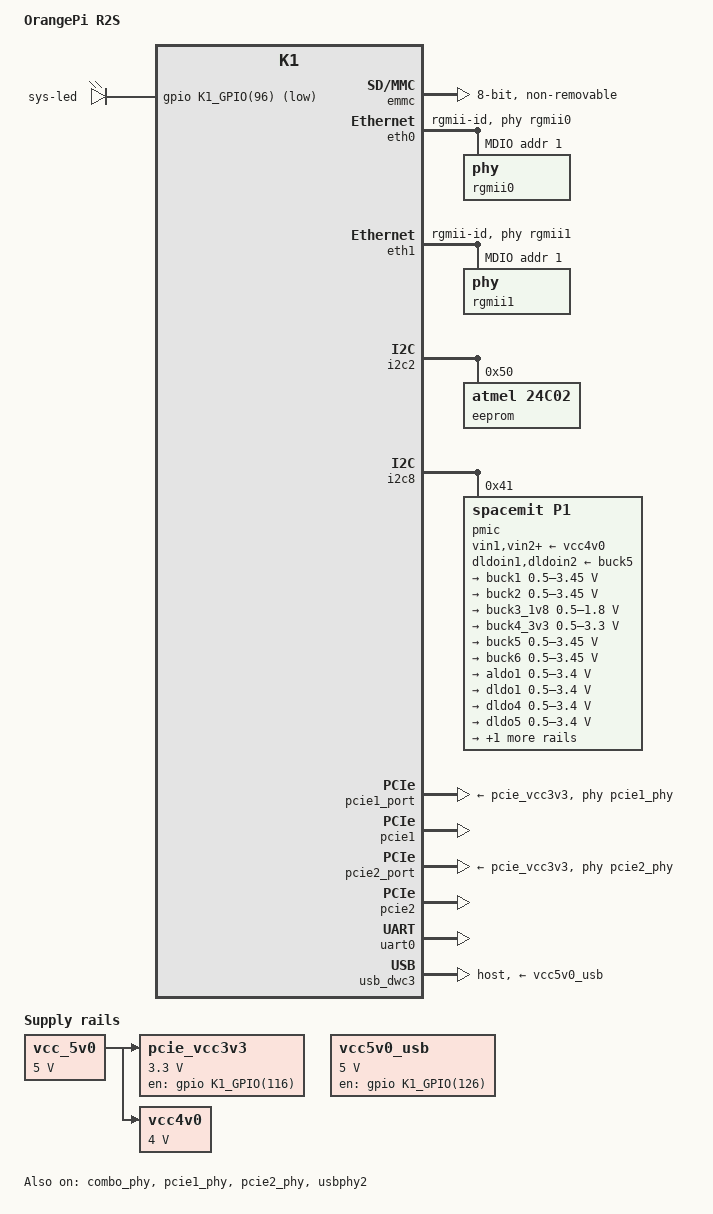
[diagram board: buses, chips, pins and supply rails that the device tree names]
// SPDX-License-Identifier: (GPL-2.0 OR MIT)
/*
 * Copyright (C) 2024 Yangyu Chen <cyy@cyyself.name>
 * Copyright (C) 2025 Hendrik Hamerlinck <hendrik.hamerlinck@hammernet.be>
 * Copyright (C) 2025 Michael Opdenacker <michael.opdenacker@rootcommit.com>
 *
 * Orange Pi R2S (2 GB) variant, derived from the RV2 board DTS.
 * Deltas vs RV2 (verified against the vendor Linux k1-orangepi-r2s.dtb):
 *   - no on-board WiFi  -> wifi_pwrseq + &sdhci1 (SDIO) removed
 *   - 2x GbE emac (eth0/eth1) IDENTICAL to RV2 (same PHY reset GPIOs 110/115,
 *     spacemit,k1-emac, rgmii-id) -> works with the smte(4) driver as-is
 *   - 2x RTL8125 2.5GbE hang off &pcie1 / &pcie2 (unchanged here); driven by the
 *     in-base rge(4) driver (add "device rge") -- base re(4) has no RTL8125
 *     support.
 */

/dts-v1/;

#include "k1.dtsi"
#include "k1-pinctrl.dtsi"

/ {
	model = "OrangePi R2S";
	compatible = "xunlong,orangepi-r2s", "spacemit,k1";

	aliases {
		serial0 = &uart0;
		ethernet0 = &eth0;
		ethernet1 = &eth1;
		mmc0 = &emmc;
	};

	chosen {
		stdout-path = "serial0";
	};

	pcie_vcc3v3: regulator-pcie-vcc3v3 {
		compatible = "regulator-fixed";
		enable-active-high;
		gpios = <&gpio K1_GPIO(116) GPIO_ACTIVE_HIGH>;
		regulator-name = "pcie_vcc3v3";
		regulator-min-microvolt = <3300000>;
		regulator-max-microvolt = <3300000>;
		vin-supply = <&vcc_5v0>;
	};

	vcc_5v0: regulator-vcc-5v0 {
		compatible = "regulator-fixed";
		regulator-name = "vcc_5v0";
		regulator-always-on;
		regulator-boot-on;
		regulator-min-microvolt = <5000000>;
		regulator-max-microvolt = <5000000>;
	};

	vcc4v0: regulator-vcc4v0 {
		compatible = "regulator-fixed";
		regulator-name = "vcc4v0";
		regulator-always-on;
		regulator-boot-on;
		regulator-min-microvolt = <4000000>;
		regulator-max-microvolt = <4000000>;
		vin-supply = <&vcc_5v0>;
	};

	/*
	 * VBUS for the USB 3 host port is GPIO 126, not 123.  GPIO 123 is the
	 * RV2's pin (and on the R2S the vendor uses it for its second USB2
	 * port), and with 123 driven instead the port stays powered-but-empty:
	 * PORTSC reads 0x2a0 (PP=1, CCS=0) no matter what is plugged in.
	 * Measured: driving 126 high makes the same port come up as
	 * PORTSC 0x1203 (CCS=1, PED=1, SuperSpeed) and the device enumerates;
	 * driving 123 low afterwards changes nothing.  Matches mainline Linux
	 * arch/riscv/boot/dts/spacemit/k1-orangepi-r2s.dts.
	 */
	vcc5v0_usb: regulator-vcc5v0-usb {
		compatible = "regulator-fixed";
		enable-active-high;
		gpios = <&gpio K1_GPIO(126) GPIO_ACTIVE_HIGH>;
		regulator-name = "vcc5v0_usb";
		regulator-min-microvolt = <5000000>;
		regulator-max-microvolt = <5000000>;
	};

	leds {
		compatible = "gpio-leds";

		led1 {
			label = "sys-led";
			gpios = <&gpio K1_GPIO(96) GPIO_ACTIVE_LOW>;
			linux,default-trigger = "heartbeat";
			default-state = "on";
		};
	};

};

&combo_phy {
	status = "okay";
};

&emmc {
	bus-width = <8>;
	mmc-hs400-1_8v;
	mmc-hs400-enhanced-strobe;
	no-sd;
	no-sdio;
	non-removable;
	status = "okay";
};

&eth0 {
	phy-handle = <&rgmii0>;
	phy-mode = "rgmii-id";
	nvmem-cells = <&mac_address0>;
	nvmem-cell-names = "mac-address";
	pinctrl-names = "default";
	pinctrl-0 = <&gmac0_cfg>;
	rx-internal-delay-ps = <0>;
	tx-internal-delay-ps = <0>;
	status = "okay";

	mdio-bus {
		#address-cells = <0x1>;
		#size-cells = <0x0>;

		reset-gpios = <&gpio K1_GPIO(110) GPIO_ACTIVE_LOW>;
		reset-delay-us = <10000>;
		reset-post-delay-us = <100000>;

		rgmii0: phy@1 {
			reg = <0x1>;
			motorcomm,auto-sleep-disabled;
			rx-internal-delay-ps = <1950>;
			tx-internal-delay-ps = <1950>;
		};
	};
};

&eth1 {
	phy-handle = <&rgmii1>;
	phy-mode = "rgmii-id";
	nvmem-cells = <&mac_address1>;
	nvmem-cell-names = "mac-address";
	pinctrl-names = "default";
	pinctrl-0 = <&gmac1_cfg>;
	rx-internal-delay-ps = <0>;
	tx-internal-delay-ps = <250>;
	status = "okay";

	mdio-bus {
		#address-cells = <0x1>;
		#size-cells = <0x0>;

		reset-gpios = <&gpio K1_GPIO(115) GPIO_ACTIVE_LOW>;
		reset-delay-us = <10000>;
		reset-post-delay-us = <100000>;

		rgmii1: phy@1 {
			reg = <0x1>;
			motorcomm,auto-sleep-disabled;
			rx-internal-delay-ps = <1950>;
			tx-internal-delay-ps = <1950>;
		};
	};
};

&pdma {
	status = "okay";
};

/*
 * i2c2 carries the board's AT24C02 MAC EEPROM at 0x50.  This is where the
 * stable, Xunlong-assigned MACs live -- vendor U-Boot reads them here and
 * reports a valid TlvInfo block with MAC base c0:74:2b:fa:18:98.
 * Without this node nothing in the OS can see them, which is why end0/end1
 * come up with a fresh random locally-administered MAC on every boot while
 * the two PCIe NICs (whose MACs are in their own EEPROMs) stay stable.
 *
 * NOTE: describing the EEPROM does not by itself fix the MACs.  if_smte(4)
 * only looks at the "local-mac-address"/"mac-address" DT properties and
 * otherwise calls ether_gen_addr().  The carried driver does not consume the
 * nvmem cells yet, so the links below document the standard binding and the
 * exact byte ranges for a later if_smte change or U-Boot DT fixup.
 */
&i2c2 {
	pinctrl-names = "default";
	pinctrl-0 = <&i2c2_0_cfg>;
	status = "okay";

	eeprom@50 {
		compatible = "atmel,24c02";
		reg = <0x50>;
		#address-cells = <1>;
		#size-cells = <1>;

		mac_address0: mac-address@0 {
			reg = <0x0 0x6>;
		};

		mac_address1: mac-address@6 {
			reg = <0x6 0x6>;
		};
	};
};

&i2c8 {
	pinctrl-names = "default";
	pinctrl-0 = <&i2c8_cfg>;
	status = "okay";

	pmic@41 {
		compatible = "spacemit,p1";
		reg = <0x41>;
		interrupts = <64>;
		vin1-supply = <&vcc4v0>;
		vin2-supply = <&vcc4v0>;
		vin3-supply = <&vcc4v0>;
		vin4-supply = <&vcc4v0>;
		vin5-supply = <&vcc4v0>;
		vin6-supply = <&vcc4v0>;
		aldoin-supply = <&vcc4v0>;
		dldoin1-supply = <&buck5>;
		dldoin2-supply = <&buck5>;

		regulators {
			buck1 {
				regulator-min-microvolt = <500000>;
				regulator-max-microvolt = <3450000>;
				regulator-ramp-delay = <5000>;
				regulator-always-on;
			};

			buck2 {
				regulator-min-microvolt = <500000>;
				regulator-max-microvolt = <3450000>;
				regulator-ramp-delay = <5000>;
				regulator-always-on;
			};

			buck3_1v8: buck3 {
				regulator-min-microvolt = <500000>;
				regulator-max-microvolt = <1800000>;
				regulator-ramp-delay = <5000>;
				regulator-always-on;
			};

			buck4_3v3: buck4 {
				regulator-min-microvolt = <500000>;
				regulator-max-microvolt = <3300000>;
				regulator-ramp-delay = <5000>;
				regulator-always-on;
			};

			buck5: buck5 {
				regulator-min-microvolt = <500000>;
				regulator-max-microvolt = <3450000>;
				regulator-ramp-delay = <5000>;
				regulator-always-on;
			};

			buck6 {
				regulator-min-microvolt = <500000>;
				regulator-max-microvolt = <3450000>;
				regulator-ramp-delay = <5000>;
				regulator-always-on;
			};

			aldo1: aldo1 {
				regulator-min-microvolt = <500000>;
				regulator-max-microvolt = <3400000>;
				regulator-boot-on;
			};

			aldo2 {
				/* not connected */
			};

			aldo3 {
				/* not connected */
			};

			aldo4 {
				/* not connected */
			};

			dldo1 {
				regulator-min-microvolt = <500000>;
				regulator-max-microvolt = <3400000>;
				regulator-boot-on;
			};

			dldo2 {
				/* not connected */
			};

			dldo3 {
				/* not connected */
			};

			dldo4 {
				regulator-min-microvolt = <500000>;
				regulator-max-microvolt = <3400000>;
				regulator-always-on;
			};

			dldo5 {
				regulator-min-microvolt = <500000>;
				regulator-max-microvolt = <3400000>;
			};

			dldo6 {
				regulator-min-microvolt = <500000>;
				regulator-max-microvolt = <3400000>;
				regulator-always-on;
			};

			dldo7 {
				/* not connected */
			};
		};
	};
};

&pcie1_phy {
	pinctrl-names = "default";
	pinctrl-0 = <&pcie1_3_cfg>;
	status = "okay";
};

&pcie1_port {
	phys = <&pcie1_phy>;
	vpcie3v3-supply = <&pcie_vcc3v3>;
};

&pcie1 {
	status = "okay";
};

&pcie2_phy {
	pinctrl-names = "default";
	pinctrl-0 = <&pcie2_4_cfg>;
	status = "okay";
};

&pcie2_port {
	phys = <&pcie2_phy>;
	vpcie3v3-supply = <&pcie_vcc3v3>;
};

&pcie2 {
	status = "okay";
};

/*
 * No &qspi: the R2S has no QSPI NOR flash.  The vendor's own R2S DTB ships
 * spi@d420c000 as status = "disabled" while the RV2's is "okay" -- this node,
 * its pinmux and its partition table were all inherited from the RV2.  The
 * partition list was never read off an R2S chip either; it is the generic K1
 * SPI "mtdparts" layout string found in FSBL.bin.  The R2S boots entirely from
 * eMMC (ROM -> boot0 FSBL -> u-boot.itb at user-area sector 1664), so nothing
 * here was ever in the boot path.  Enabling it made spibus probe a chip that
 * is not fitted and held pads 98-103 in QSPI mux (100-103 are also uart4/uart5).
 */

&uart0 {
	pinctrl-names = "default";
	pinctrl-0 = <&uart0_2_cfg>;
	status = "okay";
};

&usbphy2 {
	status = "okay";
};

/*
 * No hub@1/hub@2 children: the R2S has no on-board USB hub.  Those nodes were
 * inherited from the RV2; the vendor's own R2S DTB has no children under dwc3,
 * mainline Linux's R2S dts has none, and on hardware the storage device
 * attaches directly to the root hub (uhub0 reports 2 ports and the device
 * appears as ugen0.2, with no intermediate hub).
 */
&usb_dwc3 {
	dr_mode = "host";
	vbus-supply = <&vcc5v0_usb>;
	status = "okay";
};
